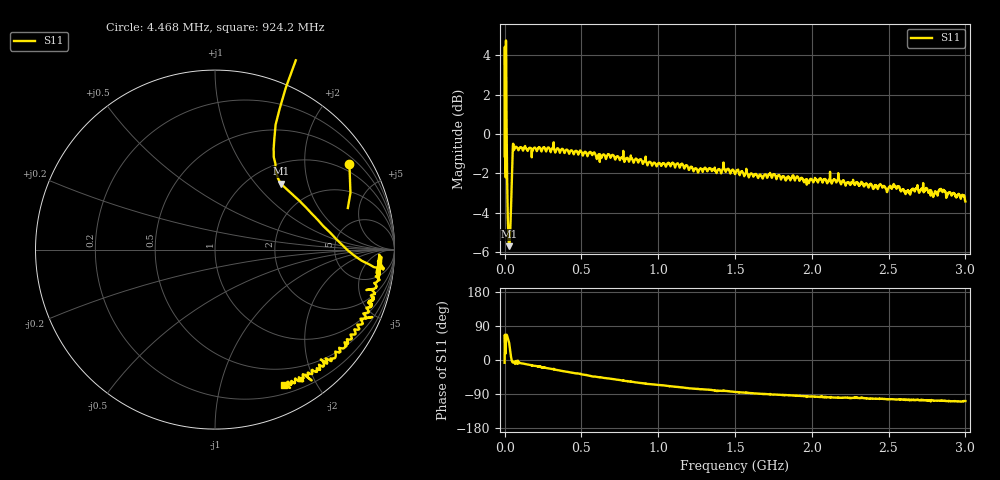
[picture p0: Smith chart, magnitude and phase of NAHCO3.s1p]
# HZ S RI R 50
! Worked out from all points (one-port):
!   2020 points, 10 kHz to 3 GHz, reference 50 ohm
!   lowest |S11| = -5.7 dB at 29.73 MHz (marker M1), VSWR 3.16, Z = 68 + j68.5 ohm
!   |S11| at or under -10 dB: nowhere
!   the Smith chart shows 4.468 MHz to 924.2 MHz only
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10000  0.8715 -0.1089
7439395  0.7402 0.2317
1.635467e7  0.3375 0.6952
1.784055e7  0.331 0.6221
1.932643e7  0.3268 0.5627
2.378406e7  0.337 0.4443
2.675582e7  0.3509 0.3977
2.972758e7  0.3659 0.3681
3.864285e7  0.5732 0.1653
4.904401e7  0.8175 -0.0621
5.795928e7  0.9362 -0.1007
6.687456e7  0.9176 -0.0901
2.422083e8  0.8616 -0.2901
3.759374e8  0.8025 -0.4443
5.691017e8  0.6462 -0.6059
7.503789e8  0.5178 -0.685
9.346279e8  0.3803 -0.7515
1.126306e9  0.2746 -0.7971
1.384849e9  0.121 -0.7976
1.438341e9  0.1165 -0.7966
1.500748e9  0.0775 -0.7873
1.875189e9  -0.0483 -0.7777
2.251117e9  -0.1364 -0.7299
2.548292e9  -0.178 -0.7119
2.625558e9  -0.1901 -0.6947
2.845468e9  -0.2097 -0.688
2.965824e9  -0.2318 -0.655
3e9  -0.2117 -0.6401
